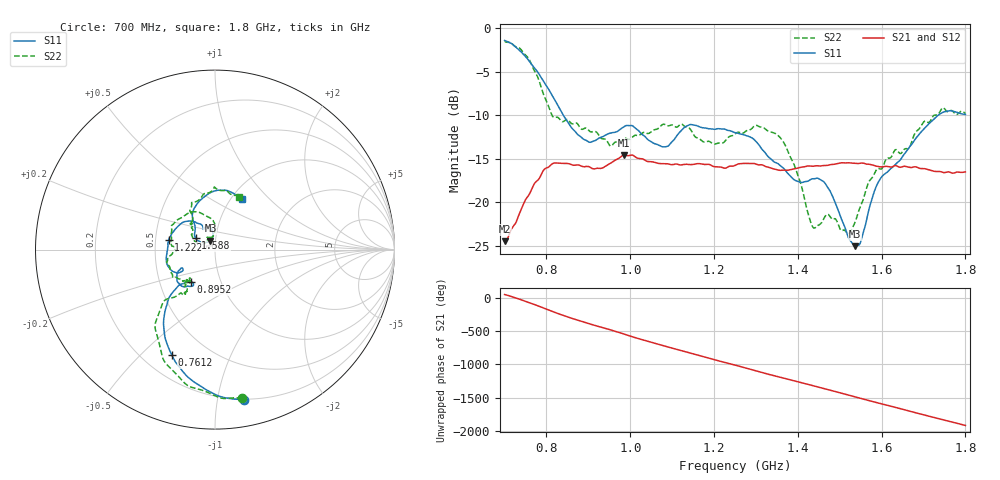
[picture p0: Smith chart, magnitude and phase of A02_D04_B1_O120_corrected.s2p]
! Created with skrf 1.9.0 (http://scikit-rf.org).
# Hz S RI R 50.0
!freq ReS11 ImS11 ReS21 ImS21 ReS12 ImS12 ReS22 ImS22
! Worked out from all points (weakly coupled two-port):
!   1601 points, 700 MHz to 1.8 GHz, reference 50 ohm
!   highest |S21| = -14.56 dB at 985.3 MHz (marker M1); lowest = -24.5 dB at 700.7 MHz (marker M2)
!   lowest |S11| = -25.1 dB at 1.537 GHz (marker M3), VSWR 1.12, Z = 47.3 + j4.72 ohm
!   |S11| at or under -10 dB: 840.2 MHz to 1.735 GHz (894.6 MHz wide, 69.5 % of centre)
!   |S22| runs from -23.7 to -1.5 dB; largest |S21 - S12| = 0.0035
!   S11 on the Smith chart (normalised r, x): 700 MHz: 0.20, -1.19; 761.2 MHz: 0.32, -0.62; 895.2 MHz: 0.72, -0.27; 1.222 GHz: 0.59, +0.07; 1.588 GHz: 0.80, +0.10; 1.8 GHz: 1.12, +0.70
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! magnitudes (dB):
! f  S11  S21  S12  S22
! 700 MHz  -1.4  -24.5  -24.3  -1.5
! 700.7 MHz  -1.4  -24.5  -24.2  -1.5
! 761.2 MHz  -3.9  -18.9  -18.8  -3.8
! 814.8 MHz  -7.8  -15.6  -15.6  -10.1
! 883.6 MHz  -12.6  -15.9  -15.8  -11.6
! 895.2 MHz  -12.9  -15.9  -16.0  -11.5
! 985.3 MHz  -11.3  -14.6  -14.7  -12.7
! 1.067 GHz  -13.4  -15.5  -15.5  -11.5
! 1.142 GHz  -11.1  -15.7  -15.6  -11.5
! 1.222 GHz  -11.6  -16.1  -16.1  -13.2
! 1.25 GHz  -12.0  -15.8  -15.7  -12.2
! 1.359 GHz  -15.8  -16.3  -16.3  -12.6
! 1.396 GHz  -17.5  -16.1  -16.1  -16.3
! 1.434 GHz  -17.3  -15.9  -15.8  -22.7
! 1.471 GHz  -18.3  -15.8  -15.7  -21.4
! 1.52 GHz  -23.9  -15.5  -15.5  -23.6
! 1.537 GHz  -25.1  -15.5  -15.5  -22.3
! 1.551 GHz  -24.4  -15.5  -15.5  -20.3
! 1.588 GHz  -18.1  -15.9  -15.9  -16.2
! 1.617 GHz  -16.4  -15.9  -15.9  -14.9
! 1.737 GHz  -9.9  -16.5  -16.5  -9.8
! 1.8 GHz  -9.9  -16.5  -16.5  -9.8
